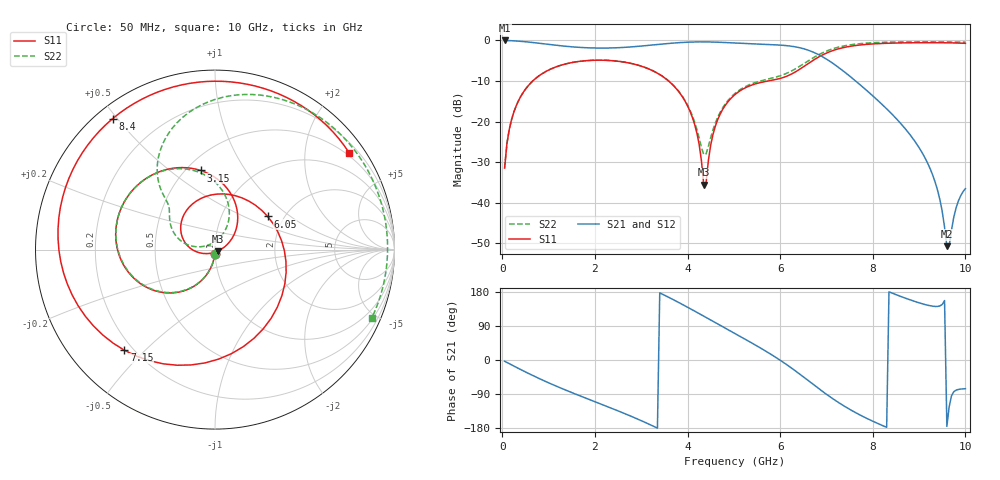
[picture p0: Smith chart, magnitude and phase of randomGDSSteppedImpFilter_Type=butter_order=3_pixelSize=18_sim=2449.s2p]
! freq	dB(S11)	phase(S11)	dB(S12)	phase(S12)
!  dB(S21)	phase(S21)	dB(S22)	phase(S22)
!S-par simulation data
#  GHz  S  DB  R 50
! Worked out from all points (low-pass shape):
!   200 points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, 50 MHz to 10 GHz, reference 50 ohm
!   highest |S21| = -0.01 dB at 50 MHz (marker M1); lowest = -50.7 dB at 9.6 GHz (marker M2)
!   |S21| within 3 dB of the highest: start of sweep to 6.738 GHz
!   lowest |S11| = -35.5 dB at 4.35 GHz (marker M3), VSWR 1.03, Z = 51.4 - j0.929 ohm
!   |S11| at or under -10 dB: start of sweep to 657.4 MHz; 3.59 GHz to 5.739 GHz (2.148 GHz wide, 46.1 % of centre)
!   |S22| runs from -31.4 to -0.3 dB; largest |S21 - S12| = 0
!   S11 on the Smith chart (normalised r, x): 50 MHz: 1.00, -0.05; 3.15 GHz: 0.59, +0.65; 6.05 GHz: 1.65, +0.69; 7.15 GHz: 0.17, -0.44; 8.4 GHz: 0.05, +0.49; 10 GHz: 0.43, +3.04
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0.05  -31.44 -93.3  -0.01 -3.3  -0.01 -3.3  -31.44 -93.4
0.2  -19.51 -103.2  -0.07 -12.9  -0.07 -12.9  -19.51 -103.3
0.5  -12.03 -121.8  -0.32 -31.5  -0.32 -31.5  -12.03 -122.2
1.75  -5.05 171.8  -1.77 -98.1  -1.77 -98.1  -5.05 171.1
3.15  -6.97 100.4  -1.23 -168.3  -1.23 -168.3  -6.94 103.7
3.4  -8.42 85.2  -0.95 177.2  -0.95 177.2  -8.38 90.8
4.05  -17.36 38.2  -0.41 136.0  -0.41 136.0  -17.09 62.6
4.25  -25.57 14.4  -0.36 122.5  -0.36 122.5  -23.99 71.9
4.35  -35.52 -32.6  -0.36 115.8  -0.36 115.8  -28.14 105.5
4.6  -21.14 -168.2  -0.42 98.7  -0.42 98.7  -20.35 170.8
5.05  -13.10 149.7  -0.65 68.1  -0.65 68.1  -12.83 161.0
6.05  -9.20 32.2  -1.19 -4.7  -1.19 -4.7  -8.52 135.2
6.4  -7.26 -26.2  -1.74 -35.1  -1.74 -35.1  -6.52 130.9
6.7  -4.98 -73.8  -2.82 -63.0  -2.82 -63.0  -4.36 121.3
7.15  -2.45 -132.0  -5.74 -103.3  -5.74 -103.3  -2.01 98.1
7.7  -1.15 176.3  -10.67 -143.5  -10.67 -143.5  -0.82 68.6
8.35  -0.68 131.1  -17.42 179.9  -17.42 179.9  -0.42 38.6
8.4  -0.67 128.0  -17.99 177.4  -17.99 177.4  -0.41 36.4
9.25  -0.55 79.1  -31.91 142.9  -31.91 142.9  -0.34 3.1
9.45  -0.56 67.8  -39.26 142.7  -39.26 142.7  -0.35 -4.2
9.6  -0.58 59.3  -50.70 -175.1  -50.70 -175.1  -0.36 -9.6
10  -0.71 35.8  -36.52 -75.7  -36.52 -75.7  -0.42 -23.6
